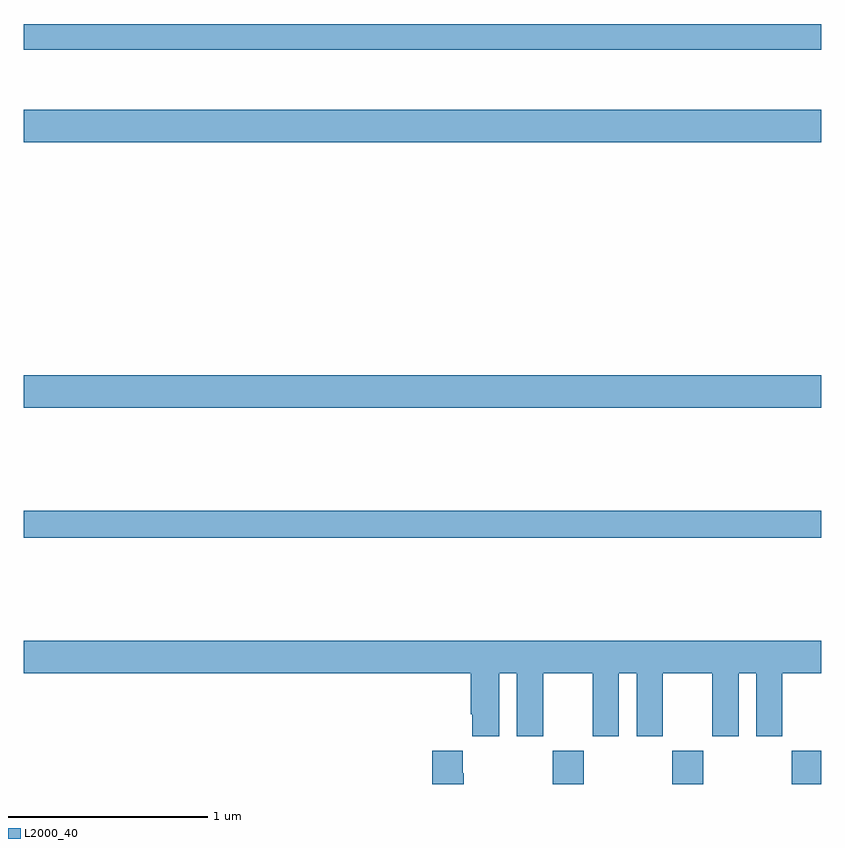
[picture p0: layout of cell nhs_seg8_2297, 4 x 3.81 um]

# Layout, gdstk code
import gdstk
lib = gdstk.Library(unit=1e-6, precision=1e-09)
def R(c, l, rs):  # rectangles x0, y0, x1, y1
    for r in rs: c.add(gdstk.rectangle(r[:2], r[2:], *l))
def P(c, l, *ps):  # polygons
    for p in ps: c.add(gdstk.Polygon(p, *l))
L2000_40 = (2000, 40)

nhs_seg8_2297 = lib.new_cell('nhs_seg8_2297')
R(nhs_seg8_2297, L2000_40, [(257.653,1159.9,257.808,1160.068), (258.253,1159.9,258.408,1160.068), (258.853,1159.9,259,1160.068), (255,1161.136,259,1161.272), (255,1161.788,259,1161.952), (255,1163.12,259,1163.284), (255,1163.586,259,1163.714)])
P(nhs_seg8_2297, L2000_40, [(257.386,1160.456),(257.474,1160.456),(257.474,1160.139),(257.605,1160.139),(257.605,1160.456),(257.855,1160.456),(257.855,1160.139),(257.986,1160.139),(257.986,1160.456),(258.074,1160.456),(258.074,1160.139),(258.205,1160.139),(258.205,1160.456),(258.455,1160.456),(258.455,1160.139),(258.586,1160.139),(258.586,1160.456),(258.674,1160.456),(258.674,1160.139),(258.805,1160.139),(258.805,1160.456),(259,1160.456),(259,1160.62),(255,1160.62),(255,1160.456),(257.243,1160.456),(257.243,1160.251),(257.249,1160.251),(257.249,1160.139),(257.386,1160.139)],
  [(257.208,1159.955),(257.203,1159.955),(257.203,1160.068),(257.048,1160.068),(257.048,1159.9),(257.208,1159.9)])

lib.write_gds('nhs_seg8_2297.gds')
